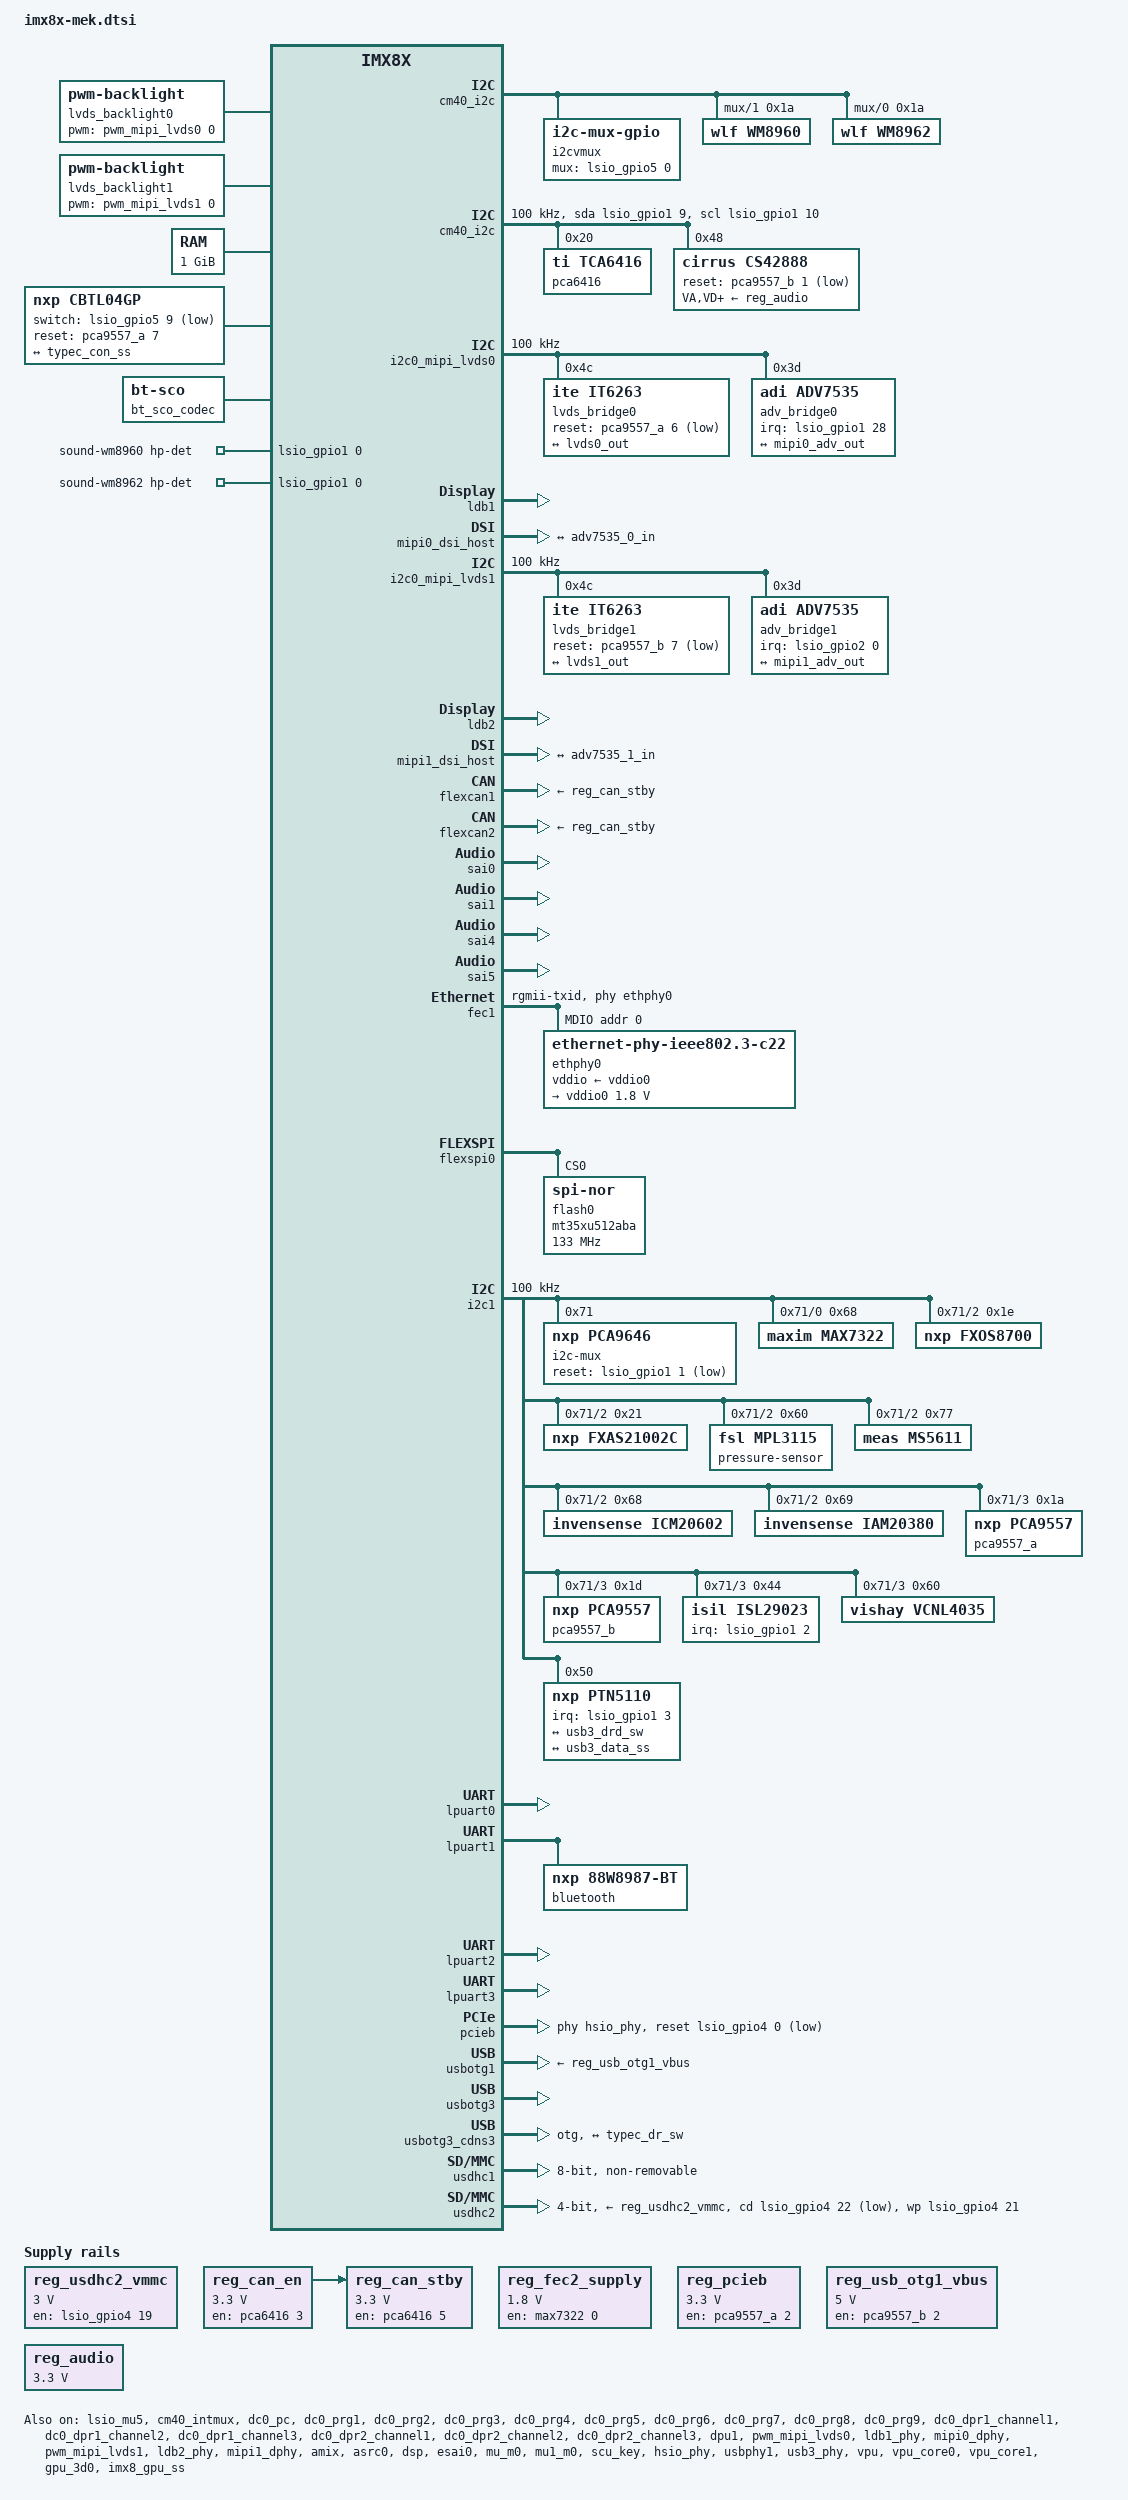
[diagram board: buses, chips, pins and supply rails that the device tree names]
// SPDX-License-Identifier: GPL-2.0+
/*
 * Copyright 2017-2020 NXP
 */

#include <dt-bindings/usb/pd.h>
/ {
	chosen {
		stdout-path = &lpuart0;
	};

	brcmfmac: brcmfmac {
		compatible = "cypress,brcmfmac";
		pinctrl-names = "init", "idle", "default";
		pinctrl-0 = <&pinctrl_wifi_init>;
		pinctrl-1 = <&pinctrl_wifi_init>;
		pinctrl-2 = <&pinctrl_wifi>;
	};

	lvds_backlight0: lvds-backlight-0 {
		compatible = "pwm-backlight";
		pwms = <&pwm_mipi_lvds0 0 100000 0>;

		brightness-levels = < 0  1  2  3  4  5  6  7  8  9
				     10 11 12 13 14 15 16 17 18 19
				     20 21 22 23 24 25 26 27 28 29
				     30 31 32 33 34 35 36 37 38 39
				     40 41 42 43 44 45 46 47 48 49
				     50 51 52 53 54 55 56 57 58 59
				     60 61 62 63 64 65 66 67 68 69
				     70 71 72 73 74 75 76 77 78 79
				     80 81 82 83 84 85 86 87 88 89
				     90 91 92 93 94 95 96 97 98 99
				    100>;
		default-brightness-level = <80>;
	};

	lvds_backlight1: lvds-backlight-1 {
		compatible = "pwm-backlight";
		pwms = <&pwm_mipi_lvds1 0 100000 0>;

		brightness-levels = < 0  1  2  3  4  5  6  7  8  9
				     10 11 12 13 14 15 16 17 18 19
				     20 21 22 23 24 25 26 27 28 29
				     30 31 32 33 34 35 36 37 38 39
				     40 41 42 43 44 45 46 47 48 49
				     50 51 52 53 54 55 56 57 58 59
				     60 61 62 63 64 65 66 67 68 69
				     70 71 72 73 74 75 76 77 78 79
				     80 81 82 83 84 85 86 87 88 89
				     90 91 92 93 94 95 96 97 98 99
				    100>;
		default-brightness-level = <80>;
	};

	memory@80000000 {
		device_type = "memory";
		reg = <0x00000000 0x80000000 0 0x40000000>;
	};

	cbtl04gp {
		compatible = "nxp,cbtl04gp";
		pinctrl-names = "default";
		pinctrl-0 = <&pinctrl_typec_mux>;
		switch-gpios = <&lsio_gpio5 9 GPIO_ACTIVE_LOW>;
		reset-gpios = <&pca9557_a 7 GPIO_ACTIVE_HIGH>;
		orientation-switch;

		port {
			usb3_data_ss: endpoint {
				remote-endpoint = <&typec_con_ss>;
			};
		};
	};

	reserved-memory {
		#address-cells = <2>;
		#size-cells = <2>;
		ranges;

		decoder_boot: decoder-boot@84000000 {
			reg = <0 0x84000000 0 0x2000000>;
			no-map;
		};

		encoder_boot: encoder-boot@86000000 {
			reg = <0 0x86000000 0 0x200000>;
			no-map;
		};

		decoder_rpc: decoder-rpc@92000000 {
			reg = <0 0x92000000 0 0x100000>;
			no-map;
		};

		dsp_reserved: dsp@92400000 {
			reg = <0 0x92400000 0 0x1000000>;
			no-map;
		};
		dsp_reserved_heap: dsp_reserved_heap@93400000 {
			reg = <0 0x93400000 0 0xef0000>;
			no-map;
		};
		dsp_vdev0vring0: vdev0vring0@942f0000 {
			reg = <0 0x942f0000 0 0x8000>;
			no-map;
		};

		dsp_vdev0vring1: vdev0vring1@942f8000 {
			reg = <0 0x942f8000 0 0x8000>;
			no-map;
		};

		dsp_vdev0buffer: vdev0buffer@94300000 {
			compatible = "shared-dma-pool";
			reg = <0 0x94300000 0 0x100000>;
			no-map;
		};

		encoder_rpc: encoder-rpc@94400000 {
			reg = <0 0x94400000 0 0x700000>;
			no-map;
		};
		/* global autoconfigured region for contiguous allocations */
		linux,cma {
			compatible = "shared-dma-pool";
			reusable;
			size = <0 0x3c000000>;
			alloc-ranges = <0 0xc0000000 0 0x3c000000>;
			linux,cma-default;
		};
	};

	reg_usdhc2_vmmc: usdhc2-vmmc {
		compatible = "regulator-fixed";
		regulator-name = "SD1_SPWR";
		regulator-min-microvolt = <3000000>;
		regulator-max-microvolt = <3000000>;
		gpio = <&lsio_gpio4 19 GPIO_ACTIVE_HIGH>;
		off-on-delay-us = <3480>;
		enable-active-high;
	};

	reg_can_en: regulator-can-en {
		compatible = "regulator-fixed";
		regulator-name = "can-en";
		regulator-min-microvolt = <3300000>;
		regulator-max-microvolt = <3300000>;
		gpio = <&pca6416 3 GPIO_ACTIVE_HIGH>;
		enable-active-high;
	};

	reg_can_stby: regulator-can-stby {
		compatible = "regulator-fixed";
		regulator-name = "can-stby";
		regulator-min-microvolt = <3300000>;
		regulator-max-microvolt = <3300000>;
		gpio = <&pca6416 5 GPIO_ACTIVE_HIGH>;
		enable-active-high;
		vin-supply = <&reg_can_en>;
	};

	reg_fec2_supply: fec2_nvcc {
		compatible = "regulator-fixed";
		regulator-name = "fec2_nvcc";
		regulator-min-microvolt = <1800000>;
		regulator-max-microvolt = <1800000>;
		gpio = <&max7322 0 GPIO_ACTIVE_HIGH>;
		enable-active-high;
	};

	reg_pcieb: regulator-pcie {
		compatible = "regulator-fixed";
		regulator-name = "mpcie_3v3";
		regulator-min-microvolt = <3300000>;
		regulator-max-microvolt = <3300000>;
		gpio = <&pca9557_a 2 GPIO_ACTIVE_HIGH>;
		enable-active-high;
		regulator-always-on;
	};

	reg_usb_otg1_vbus: regulator-usbotg1-vbus {
		compatible = "regulator-fixed";
		regulator-name = "usb_otg1_vbus";
		regulator-min-microvolt = <5000000>;
		regulator-max-microvolt = <5000000>;
		gpio = <&pca9557_b 2 GPIO_ACTIVE_HIGH>;
		enable-active-high;
	};

	reg_audio: regulator-reg-audio {
		compatible = "regulator-fixed";
		regulator-name = "cs42888_supply";
		regulator-min-microvolt = <3300000>;
		regulator-max-microvolt = <3300000>;
		regulator-always-on;
	};

	bt_sco_codec: bt_sco_codec {
		#sound-dai-cells = <1>;
		compatible = "linux,bt-sco";
	};

	sound-bt-sco {
		compatible = "simple-audio-card";
		simple-audio-card,name = "bt-sco-audio";
		simple-audio-card,format = "dsp_a";
		simple-audio-card,bitclock-inversion;
		simple-audio-card,frame-master = <&btcpu>;
		simple-audio-card,bitclock-master = <&btcpu>;

		btcpu: simple-audio-card,cpu {
			sound-dai = <&sai0>;
			dai-tdm-slot-num = <2>;
			dai-tdm-slot-width = <16>;
		};

		simple-audio-card,codec {
			sound-dai = <&bt_sco_codec 1>;
		};
	};

	sound-cs42888 {
		compatible = "fsl,imx8qm-sabreauto-cs42888",
				"fsl,imx-audio-cs42888";
		model = "imx-cs42888";
		audio-cpu = <&esai0>;
		audio-codec = <&cs42888>;
		audio-asrc = <&asrc0>;
		audio-routing =
			"Line Out Jack", "AOUT1L",
			"Line Out Jack", "AOUT1R",
			"Line Out Jack", "AOUT2L",
			"Line Out Jack", "AOUT2R",
			"Line Out Jack", "AOUT3L",
			"Line Out Jack", "AOUT3R",
			"Line Out Jack", "AOUT4L",
			"Line Out Jack", "AOUT4R",
			"AIN1L", "Line In Jack",
			"AIN1R", "Line In Jack",
			"AIN2L", "Line In Jack",
			"AIN2R", "Line In Jack";
		status = "okay";
	};

	sound-wm8960 {
		compatible = "fsl,imx8x-mek-wm8960",
			"fsl,imx-audio-wm8960";
		model = "wm8960-audio";
		audio-cpu = <&sai1>;
		audio-codec = <&wm8960>;
		hp-det-gpio = <&lsio_gpio1 0 GPIO_ACTIVE_HIGH>;
		audio-routing =
			"Headphone Jack", "HP_L",
			"Headphone Jack", "HP_R",
			"Ext Spk", "SPK_LP",
			"Ext Spk", "SPK_LN",
			"Ext Spk", "SPK_RP",
			"Ext Spk", "SPK_RN",
			"LINPUT1", "Mic Jack",
			"Mic Jack", "MICB";
	};

	sound-wm8962 {
		compatible = "fsl,imx-audio-wm8962";
		model = "wm8962-audio";
		audio-cpu = <&sai1>;
		audio-codec = <&wm8962>;
		hp-det-gpio = <&lsio_gpio1 0 GPIO_ACTIVE_HIGH>;
		audio-routing =
			"Headphone Jack", "HPOUTL",
			"Headphone Jack", "HPOUTR",
			"Ext Spk", "SPKOUTL",
			"Ext Spk", "SPKOUTR",
			"AMIC", "MICBIAS",
			"IN3R", "AMIC",
			"IN1R", "AMIC";
	};

	imx8x_cm4: imx8x-cm4-0 {
		compatible = "fsl,imx8qxp-cm4";
		rsc-da = <0x90000000>;
		mbox-names = "tx", "rx", "rxdb";
		mboxes = <&lsio_mu5 0 1
			  &lsio_mu5 1 1
			  &lsio_mu5 3 1>;
		memory-region = <&vdevbuffer>, <&vdev0vring0>, <&vdev0vring1>,
				<&vdev1vring0>, <&vdev1vring1>, <&rsc_table>;
		fsl,resource-id = <IMX_SC_R_M4_0_PID0>;
		fsl,entry-address = <0x34fe0000>;
		status = "okay";
		power-domains = <&pd IMX_SC_R_M4_0_PID0>,
				<&pd IMX_SC_R_M4_0_MU_1A>;
	};

	reserved-memory {
		#address-cells = <2>;
		#size-cells = <2>;
		ranges;

		vdev0vring0: vdev0vring0@90000000 {
			reg = <0 0x90000000 0 0x8000>;
			no-map;
		};

		vdev0vring1: vdev0vring1@90008000 {
			reg = <0 0x90008000 0 0x8000>;
			no-map;
		};

		vdev1vring0: vdev1vring0@90010000 {
			reg = <0 0x90010000 0 0x8000>;
			no-map;
		};

		vdev1vring1: vdev1vring1@90018000 {
			reg = <0 0x90018000 0 0x8000>;
			no-map;
		};

		rsc_table: rsc-table@900ff000 {
			reg = <0 0x900ff000 0 0x1000>;
			no-map;
		};

		vdevbuffer: vdevbuffer@90400000 {
                        compatible = "shared-dma-pool";
			reg = <0 0x90400000 0 0x100000>;
			no-map;
		};
	};

	/*
	 * this dummy i2c mux.
	 * gpio actually will not impact selection.
	 * at actual boards, only 1 devices connectted.
	 * I2C client driver will check ID when probe.
	 * Only matched ID's driver probe successfully.
	 */
	i2cvmux: i2cmux {
		compatible = "i2c-mux-gpio";
		#address-cells = <1>;
		#size-cells = <0>;
		mux-gpios = <&lsio_gpio5 0 GPIO_ACTIVE_HIGH>; /* use an unused gpio */
		i2c-parent = <&cm40_i2c>;

		i2c@1 {
			reg = <1>;
			#address-cells = <1>;
			#size-cells = <0>;

			wm8960: wm8960@1a {
				compatible = "wlf,wm8960";
				reg = <0x1a>;
				clocks = <&mclkout0_lpcg 0>;
				clock-names = "mclk";
				wlf,shared-lrclk;
				wlf,hp-cfg = <2 2 3>;
				wlf,gpio-cfg = <1 3>;
				assigned-clocks = <&clk IMX_SC_R_AUDIO_PLL_0 IMX_SC_PM_CLK_PLL>,
					<&clk IMX_SC_R_AUDIO_PLL_0 IMX_SC_PM_CLK_SLV_BUS>,
					<&clk IMX_SC_R_AUDIO_PLL_0 IMX_SC_PM_CLK_MST_BUS>,
					<&mclkout0_lpcg 0>;
				assigned-clock-rates =
					<786432000>, <49152000>, <12288000>, <12288000>;
			};
		};

		i2c@0 {
			reg = <0>;
			#address-cells = <1>;
			#size-cells = <0>;

			/* WCPU boards SCH-54536 */
			wm8962: wm8962@1a {
				compatible = "wlf,wm8962";
				reg = <0x1a>;
				clocks = <&mclkout0_lpcg 0>;
				clock-names = "mclk";
				wlf,shared-lrclk;
				wlf,hp-cfg = <2 2 3>;
				wlf,gpio-cfg = <1 3>;
				assigned-clocks = <&clk IMX_SC_R_AUDIO_PLL_0 IMX_SC_PM_CLK_PLL>,
						<&clk IMX_SC_R_AUDIO_PLL_0 IMX_SC_PM_CLK_SLV_BUS>,
						<&clk IMX_SC_R_AUDIO_PLL_0 IMX_SC_PM_CLK_MST_BUS>,
						<&mclkout0_lpcg 0>;
				assigned-clock-rates =
					<786432000>, <49152000>, <12288000>, <12288000>;
			};
		};
	};
};

&lsio_mu5 {
	status = "okay";
};

&cm40_i2c {
	#address-cells = <1>;
	#size-cells = <0>;
	clock-frequency = <100000>;
	pinctrl-names = "default", "gpio";
	pinctrl-0 = <&pinctrl_cm40_i2c>;
	pinctrl-1 = <&pinctrl_cm40_i2c_gpio>;
	scl-gpios = <&lsio_gpio1 10 GPIO_ACTIVE_HIGH>;
	sda-gpios = <&lsio_gpio1 9 GPIO_ACTIVE_HIGH>;
	status = "okay";

	pca6416: gpio@20 {
		compatible = "ti,tca6416";
		reg = <0x20>;
		gpio-controller;
		#gpio-cells = <2>;
	};

	cs42888: cs42888@48 {
		compatible = "cirrus,cs42888";
		reg = <0x48>;
		clocks = <&mclkout0_lpcg 0>;
		clock-names = "mclk";
		VA-supply = <&reg_audio>;
		VD-supply = <&reg_audio>;
		VLS-supply = <&reg_audio>;
		VLC-supply = <&reg_audio>;
		reset-gpio = <&pca9557_b 1 GPIO_ACTIVE_LOW>;
		assigned-clocks = <&clk IMX_SC_R_AUDIO_PLL_0 IMX_SC_PM_CLK_PLL>,
				<&clk IMX_SC_R_AUDIO_PLL_0 IMX_SC_PM_CLK_SLV_BUS>,
				<&clk IMX_SC_R_AUDIO_PLL_0 IMX_SC_PM_CLK_MST_BUS>,
				<&mclkout0_lpcg 0>;
		assigned-clock-rates = <786432000>, <49152000>, <12288000>, <12288000>;
		fsl,txs-rxm;
	};

	ov5640_pi: ov5640@3c {
		compatible = "ovti,ov5640";
		reg = <0x3c>;
		pinctrl-names = "default";
		pinctrl-0 = <&pinctrl_parallel_csi>;
		clocks = <&pi0_misc_lpcg 0>;
		assigned-clocks = <&pi0_misc_lpcg 0>;
		assigned-clock-rates = <24000000>;
		clock-names = "xclk";
		powerdown-gpios = <&lsio_gpio3 2 GPIO_ACTIVE_HIGH>;
		reset-gpios = <&lsio_gpio3 3 GPIO_ACTIVE_LOW>;
		mclk = <24000000>;
		mclk_source = <0>;
		status = "disabled";
	};
};

&cm40_intmux {
	status = "okay";
};

&dc0_pc {
	status = "okay";
};

&dc0_prg1 {
	status = "okay";
};

&dc0_prg2 {
	status = "okay";

};

&dc0_prg3 {
	status = "okay";
};

&dc0_prg4 {
	status = "okay";
};

&dc0_prg5 {
	status = "okay";
};

&dc0_prg6 {
	status = "okay";
};

&dc0_prg7 {
	status = "okay";
};

&dc0_prg8 {
	status = "okay";
};

&dc0_prg9 {
	status = "okay";
};

&dc0_dpr1_channel1 {
	status = "okay";
};

&dc0_dpr1_channel2 {
	status = "okay";
};

&dc0_dpr1_channel3 {
	status = "okay";
};

&dc0_dpr2_channel1 {
	status = "okay";
};

&dc0_dpr2_channel2 {
	status = "okay";
};

&dc0_dpr2_channel3 {
	status = "okay";
};

&dpu1 {
	status = "okay";
};

&pwm_mipi_lvds0 {
	pinctrl-names = "default";
	pinctrl-0 = <&pinctrl_pwm_mipi_lvds0>;
	status = "okay";
};

&i2c0_mipi_lvds0 {
	#address-cells = <1>;
	#size-cells = <0>;
	pinctrl-names = "default";
	pinctrl-0 = <&pinctrl_i2c0_mipi_lvds0>;
	clock-frequency = <100000>;
	status = "okay";

	lvds_bridge0: lvds-to-hdmi-bridge@4c {
		compatible = "ite,it6263";
		reg = <0x4c>;
		reset-gpios = <&pca9557_a 6 GPIO_ACTIVE_LOW>;

		port {
			it6263_0_in: endpoint {
				remote-endpoint = <&lvds0_out>;
			};
		};
	};

	adv_bridge0: adv7535@3d {
		compatible = "adi,adv7535";
		reg = <0x3d>;
		adi,addr-cec = <0x3b>;
		adi,dsi-lanes = <4>;
		adi,dsi-channel = <1>;
		interrupt-parent = <&lsio_gpio1>;
		interrupts = <28 IRQ_TYPE_LEVEL_LOW>;
		status = "okay";

		port {
			adv7535_0_in: endpoint {
				remote-endpoint = <&mipi0_adv_out>;
			};
		};
	};
};

&ldb1_phy {
	status = "okay";
};

&ldb1 {
	status = "okay";

	lvds-channel@0 {
		fsl,data-mapping = "jeida";
		fsl,data-width = <24>;
		status = "okay";

		port@1 {
			reg = <1>;

			lvds0_out: endpoint {
				remote-endpoint = <&it6263_0_in>;
			};
		};
	};
};

&mipi0_dphy {
	status = "okay";
};

&mipi0_dsi_host {
	status = "okay";

	ports {
		port@1 {
			reg = <1>;
			mipi0_adv_out: endpoint {
				remote-endpoint = <&adv7535_0_in>;
			};
		};
	};
};

&pwm_mipi_lvds1 {
	pinctrl-names = "default";
	pinctrl-0 = <&pinctrl_pwm_mipi_lvds1>;
	status = "okay";
};

&i2c0_mipi_lvds1 {
	#address-cells = <1>;
	#size-cells = <0>;
	pinctrl-names = "default";
	pinctrl-0 = <&pinctrl_i2c0_mipi_lvds1>;
	clock-frequency = <100000>;
	status = "okay";

	lvds_bridge1: lvds-to-hdmi-bridge@4c {
		compatible = "ite,it6263";
		reg = <0x4c>;
		reset-gpios = <&pca9557_b 7 GPIO_ACTIVE_LOW>;

		port {
			it6263_1_in: endpoint {
				remote-endpoint = <&lvds1_out>;
			};
		};
	};

	adv_bridge1: adv7535@3d {
		compatible = "adi,adv7535";
		reg = <0x3d>;
		adi,addr-cec = <0x3b>;
		adi,dsi-lanes = <4>;
		adi,dsi-channel = <1>;
		interrupt-parent = <&lsio_gpio2>;
		interrupts = <0 IRQ_TYPE_LEVEL_LOW>;
		status = "okay";

		port {
			adv7535_1_in: endpoint {
				remote-endpoint = <&mipi1_adv_out>;
			};
		};
	};
};

&ldb2_phy {
	status = "okay";
};

&ldb2 {
	status = "okay";

	lvds-channel@0 {
		fsl,data-mapping = "jeida";
		fsl,data-width = <24>;
		status = "okay";

		port@1 {
			reg = <1>;

			lvds1_out: endpoint {
				remote-endpoint = <&it6263_1_in>;
			};
		};
	};
};

&mipi1_dphy {
	status = "okay";
};

&mipi1_dsi_host {
	status = "okay";

	ports {
		port@1 {
			reg = <1>;
			mipi1_adv_out: endpoint {
				remote-endpoint = <&adv7535_1_in>;
			};
		};
	};
};

&flexcan1 {
	pinctrl-names = "default";
	pinctrl-0 = <&pinctrl_flexcan1>;
	xceiver-supply = <&reg_can_stby>;
	status = "okay";
};

&flexcan2 {
	pinctrl-names = "default";
	pinctrl-0 = <&pinctrl_flexcan2>;
	xceiver-supply = <&reg_can_stby>;
	status = "okay";
};

&amix {
	status = "okay";
};

&asrc0 {
	fsl,asrc-rate  = <48000>;
	status = "okay";
};

&dsp {
	memory-region = <&dsp_vdev0buffer>, <&dsp_vdev0vring0>,
			<&dsp_vdev0vring1>, <&dsp_reserved>;
	status = "okay";
};

&esai0 {
	pinctrl-names = "default";
	pinctrl-0 = <&pinctrl_esai0>;
	assigned-clocks = <&acm IMX_ADMA_ACM_ESAI0_MCLK_SEL>,
			<&clk IMX_SC_R_AUDIO_PLL_0 IMX_SC_PM_CLK_PLL>,
			<&clk IMX_SC_R_AUDIO_PLL_0 IMX_SC_PM_CLK_SLV_BUS>,
			<&clk IMX_SC_R_AUDIO_PLL_0 IMX_SC_PM_CLK_MST_BUS>,
			<&esai0_lpcg 0>;
	assigned-clock-parents = <&aud_pll_div0_lpcg 0>;
	assigned-clock-rates = <0>, <786432000>, <49152000>, <12288000>, <49152000>;
	fsl,txm-rxs;
	status = "okay";
};

&sai0 {
	#sound-dai-cells = <0>;
	assigned-clocks = <&clk IMX_SC_R_AUDIO_PLL_0 IMX_SC_PM_CLK_PLL>,
			<&clk IMX_SC_R_AUDIO_PLL_0 IMX_SC_PM_CLK_SLV_BUS>,
			<&clk IMX_SC_R_AUDIO_PLL_0 IMX_SC_PM_CLK_MST_BUS>,
			<&sai0_lpcg 0>;
	assigned-clock-rates = <786432000>, <49152000>, <12288000>, <49152000>;
	pinctrl-names = "default";
	pinctrl-0 = <&pinctrl_sai0>;
	status = "okay";
};

&sai1 {
	assigned-clocks = <&clk IMX_SC_R_AUDIO_PLL_0 IMX_SC_PM_CLK_PLL>,
			<&clk IMX_SC_R_AUDIO_PLL_0 IMX_SC_PM_CLK_SLV_BUS>,
			<&clk IMX_SC_R_AUDIO_PLL_0 IMX_SC_PM_CLK_MST_BUS>,
			<&sai1_lpcg 0>; /* FIXME: should be sai1, original code is 0 */
	assigned-clock-rates = <786432000>, <49152000>, <12288000>, <49152000>;
	pinctrl-names = "default";
	pinctrl-0 = <&pinctrl_sai1>;
	status = "okay";
};

&sai4 {
	assigned-clocks = <&acm IMX_ADMA_ACM_SAI4_MCLK_SEL>,
			<&clk IMX_SC_R_AUDIO_PLL_1 IMX_SC_PM_CLK_PLL>,
			<&clk IMX_SC_R_AUDIO_PLL_1 IMX_SC_PM_CLK_SLV_BUS>,
			<&clk IMX_SC_R_AUDIO_PLL_1 IMX_SC_PM_CLK_MST_BUS>,
			<&sai4_lpcg 0>;
	assigned-clock-parents = <&aud_pll_div1_lpcg 0>;
	assigned-clock-rates = <0>, <786432000>, <98304000>, <12288000>, <98304000>;
	fsl,sai-asynchronous;
	fsl,txm-rxs;
	status = "okay";
};

&sai5 {
	assigned-clocks = <&acm IMX_ADMA_ACM_SAI5_MCLK_SEL>,
			<&clk IMX_SC_R_AUDIO_PLL_1 IMX_SC_PM_CLK_PLL>,
			<&clk IMX_SC_R_AUDIO_PLL_1 IMX_SC_PM_CLK_SLV_BUS>,
			<&clk IMX_SC_R_AUDIO_PLL_1 IMX_SC_PM_CLK_MST_BUS>,
			<&sai5_lpcg 0>;
	assigned-clock-parents = <&aud_pll_div1_lpcg 0>;
	assigned-clock-rates = <0>, <786432000>, <98304000>, <12288000>, <98304000>;
	fsl,sai-asynchronous;
	fsl,txm-rxs;
	status = "okay";
};

&fec1 {
	pinctrl-names = "default";
	pinctrl-0 = <&pinctrl_fec1>;
	phy-mode = "rgmii-txid";
	phy-handle = <&ethphy0>;
	fsl,magic-packet;
	nvmem-cells = <&fec_mac0>;
	nvmem-cell-names = "mac-address";
	rx-internal-delay-ps = <2000>;
	status = "okay";

	mdio {
		#address-cells = <1>;
		#size-cells = <0>;

		ethphy0: ethernet-phy@0 {
			compatible = "ethernet-phy-ieee802.3-c22";
			reg = <0>;
			qca,disable-smarteee;
			vddio-supply = <&vddio0>;

			vddio0: vddio-regulator {
				regulator-min-microvolt = <1800000>;
				regulator-max-microvolt = <1800000>;
			};
		};

		ethphy1: ethernet-phy@1 {
			compatible = "ethernet-phy-ieee802.3-c22";
			reg = <1>;
			qca,disable-smarteee;
			vddio-supply = <&vddio1>;
			status = "disabled";

			vddio1: vddio-regulator {
				regulator-min-microvolt = <1800000>;
				regulator-max-microvolt = <1800000>;
			};
		};
	};
};

&fec2 {
	pinctrl-names = "default";
	pinctrl-0 = <&pinctrl_fec2>;
	phy-mode = "rgmii-txid";
	phy-handle = <&ethphy1>;
	phy-supply = <&reg_fec2_supply>;
	fsl,magic-packet;
	nvmem-cells = <&fec_mac1>;
	nvmem-cell-names = "mac-address";
	rx-internal-delay-ps = <2000>;
	status = "disabled";
};

&flexspi0 {
	pinctrl-names = "default";
	pinctrl-0 = <&pinctrl_flexspi0>;
	nxp,fspi-dll-slvdly = <4>;
	status = "okay";

	flash0: mt35xu512aba@0 {
		reg = <0>;
		#address-cells = <1>;
		#size-cells = <1>;
		compatible = "jedec,spi-nor";
		spi-max-frequency = <133000000>;
		spi-tx-bus-width = <8>;
		spi-rx-bus-width = <8>;
	};
};

&i2c1 {
	#address-cells = <1>;
	#size-cells = <0>;
	clock-frequency = <100000>;
	pinctrl-names = "default";
	pinctrl-0 = <&pinctrl_lpi2c1 &pinctrl_ioexp_rst>;
	status = "okay";

	i2c-mux@71 {
		compatible = "nxp,pca9646", "nxp,pca9546";
		#address-cells = <1>;
		#size-cells = <0>;
		reg = <0x71>;
		reset-gpios = <&lsio_gpio1 1 GPIO_ACTIVE_LOW>;

		i2c@0 {
			#address-cells = <1>;
			#size-cells = <0>;
			reg = <0>;

			max7322: gpio@68 {
				compatible = "maxim,max7322";
				reg = <0x68>;
				gpio-controller;
				#gpio-cells = <2>;
			};
		};

		i2c@1 {
			#address-cells = <1>;
			#size-cells = <0>;
			reg = <1>;
		};

		i2c@2 {
			#address-cells = <1>;
			#size-cells = <0>;
			reg = <2>;

			fxos8700@1e {
				compatible = "nxp,fxos8700";
				reg = <0x1e>;
				interrupt-open-drain;
			};

			fxas21002c@21 {
				compatible = "nxp,fxas21002c";
				reg = <0x21>;
				interrupt-open-drain;
			};

			pressure-sensor@60 {
				compatible = "fsl,mpl3115";
				reg = <0x60>;
				interrupt-open-drain;
			};

			/* WCPU boards SCH-54536 */
			ms5611@77 {
				compatible = "meas,ms5611";
				reg = <0x77>;
			};

			icm20602@68 {
				compatible = "invensense,icm20602";
				reg = <0x68>;
			};

			iam20380@69 {
				compatible = "invensense,iam20380";
				reg = <0x69>;
			};
		};

		i2c@3 {
			#address-cells = <1>;
			#size-cells = <0>;
			reg = <3>;

			pca9557_a: gpio@1a {
				compatible = "nxp,pca9557";
				reg = <0x1a>;
				gpio-controller;
				#gpio-cells = <2>;
			};

			pca9557_b: gpio@1d {
				compatible = "nxp,pca9557";
				reg = <0x1d>;
				gpio-controller;
				#gpio-cells = <2>;
			};

			isl29023@44 {
				pinctrl-names = "default";
				pinctrl-0 = <&pinctrl_isl29023>;
				compatible = "isil,isl29023";
				reg = <0x44>;
				rext = <499>;
				interrupt-parent = <&lsio_gpio1>;
				interrupts = <2 IRQ_TYPE_EDGE_FALLING>;
			};

			/* WCPU boards SCH-54536 */
			vcnl4035@60 {
				compatible = "vishay,vcnl4035";
				reg = <0x60>;
			};
		};

	};

	ptn5110: tcpc@50 {
		compatible = "nxp,ptn5110";
		pinctrl-names = "default";
		pinctrl-0 = <&pinctrl_typec>;
		reg = <0x50>;
		interrupt-parent = <&lsio_gpio1>;
		interrupts = <3 IRQ_TYPE_LEVEL_LOW>;
		status = "okay";

		port {
			typec_dr_sw: endpoint {
				remote-endpoint = <&usb3_drd_sw>;
			};
		};

		usb_con1: connector {
			compatible = "usb-c-connector";
			label = "USB-C";
			power-role = "source";
			data-role = "dual";
			source-pdos = <PDO_FIXED(5000, 3000, PDO_FIXED_USB_COMM)>;

			ports {
				#address-cells = <1>;
				#size-cells = <0>;

				port@1 {
					reg = <1>;
					typec_con_ss: endpoint {
						remote-endpoint = <&usb3_data_ss>;
					};
				};
			};
		};
	};
};

&lpuart0 {
	pinctrl-names = "default";
	pinctrl-0 = <&pinctrl_lpuart0>;
	status = "okay";
};

&lpuart1 {
	pinctrl-names = "default";
	pinctrl-0 = <&pinctrl_lpuart1>;
	status = "okay";

	bluetooth {
		compatible = "nxp,88w8987-bt";
	};
};

&lpuart2 {
	pinctrl-names = "default";
	pinctrl-0 = <&pinctrl_lpuart2>;
	status = "okay";
};

&lpuart3 {
	pinctrl-names = "default";
	pinctrl-0 = <&pinctrl_lpuart3>;
	status = "okay";
};

&mu_m0 {
	status = "okay";
};

&mu1_m0 {
	status = "okay";
};

&scu_key {
	status = "okay";
};

&thermal_zones {
	pmic-thermal0 {
		polling-delay-passive = <250>;
		polling-delay = <2000>;
		thermal-sensors = <&tsens IMX_SC_R_PMIC_0>;

		trips {
			pmic_alert0: trip0 {
				temperature = <110000>;
				hysteresis = <2000>;
				type = "passive";
			};

			pmic_crit0: trip1 {
				temperature = <125000>;
				hysteresis = <2000>;
				type = "critical";
			};
		};

		cooling-maps {
			map0 {
				trip = <&pmic_alert0>;
				cooling-device =
					<&A35_0 THERMAL_NO_LIMIT THERMAL_NO_LIMIT>,
					<&A35_1 THERMAL_NO_LIMIT THERMAL_NO_LIMIT>,
					<&A35_2 THERMAL_NO_LIMIT THERMAL_NO_LIMIT>,
					<&A35_3 THERMAL_NO_LIMIT THERMAL_NO_LIMIT>,
					<&imx8_gpu_ss 0 1>;
			};
		};
	};
};

&hsio_phy {
	fsl,hsio-cfg = "pciea-x2-pcieb";
	fsl,refclk-pad-mode = "input";
	status = "okay";
};

&pcieb {
	pinctrl-names = "default";
	pinctrl-0 = <&pinctrl_pcieb>;
	reset-gpio = <&lsio_gpio4 0 GPIO_ACTIVE_LOW>;
	vpcie-supply = <&reg_pcieb>;
	phys = <&hsio_phy 0 PHY_TYPE_PCIE 0>;
	phy-names = "pcie-phy";
	status = "okay";
};

&usbphy1 {
	status = "okay";
};

&usbotg1 {
	vbus-supply = <&reg_usb_otg1_vbus>;
	srp-disable;
	hnp-disable;
	adp-disable;
	power-active-high;
	disable-over-current;
	status = "okay";
};

&usb3_phy {
	status = "okay";
};

&usbotg3 {
	status = "okay";
};

&usbotg3_cdns3 {
	dr_mode = "otg";
	usb-role-switch;
	status = "okay";

	port {
		usb3_drd_sw: endpoint {
			remote-endpoint = <&typec_dr_sw>;
		};
	};
};

&usdhc1 {
	assigned-clocks = <&clk IMX_SC_R_SDHC_0 IMX_SC_PM_CLK_PER>;
	assigned-clock-rates = <400000000>;
	pinctrl-names = "default", "state_100mhz", "state_200mhz";
	pinctrl-0 = <&pinctrl_usdhc1>;
	pinctrl-1 = <&pinctrl_usdhc1>;
	pinctrl-2 = <&pinctrl_usdhc1>;
	bus-width = <8>;
	no-sd;
	no-sdio;
	non-removable;
	status = "okay";
};

&usdhc2 {
	assigned-clocks = <&clk IMX_SC_R_SDHC_1 IMX_SC_PM_CLK_PER>;
	assigned-clock-rates = <200000000>;
	pinctrl-names = "default", "state_100mhz", "state_200mhz";
	pinctrl-0 = <&pinctrl_usdhc2>, <&pinctrl_usdhc2_gpio>;
	pinctrl-1 = <&pinctrl_usdhc2>, <&pinctrl_usdhc2_gpio>;
	pinctrl-2 = <&pinctrl_usdhc2>, <&pinctrl_usdhc2_gpio>;
	bus-width = <4>;
	vmmc-supply = <&reg_usdhc2_vmmc>;
	cd-gpios = <&lsio_gpio4 22 GPIO_ACTIVE_LOW>;
	wp-gpios = <&lsio_gpio4 21 GPIO_ACTIVE_HIGH>;
	status = "okay";
};

&vpu {
	compatible = "nxp,imx8qxp-vpu";
	status = "okay";
};

&vpu_core0 {
	reg = <0x2d040000 0x10000>;
	memory-region = <&decoder_boot>, <&decoder_rpc>;
	status = "okay";
};

&vpu_core1 {
	reg = <0x2d050000 0x10000>;
	memory-region = <&encoder_boot>, <&encoder_rpc>;
	status = "okay";
};

&gpu_3d0 {
	status = "okay";
};

&imx8_gpu_ss {
	status = "okay";
};

&jpegdec {
	status = "okay";
};

&jpegenc {
	status = "okay";
};

&iomuxc {
	pinctrl-names = "default";
	pinctrl-0 = <&pinctrl_hog>;

	pinctrl_hog: hoggrp {
		fsl,pins = <
			IMX8QXP_MCLK_OUT0_ADMA_ACM_MCLK_OUT0       0x0600004c
			IMX8QXP_COMP_CTL_GPIO_1V8_3V3_GPIORHB_PAD  0x000514a0
		>;
	};

	pinctrl_cm40_i2c: cm40i2cgrp {
		fsl,pins = <
			IMX8QXP_ADC_IN1_M40_I2C0_SDA                            0x0600004c
			IMX8QXP_ADC_IN0_M40_I2C0_SCL                            0x0600004c
		>;
	};

	pinctrl_cm40_i2c_gpio: cm40i2cgrp-gpio {
		fsl,pins = <
			IMX8QXP_ADC_IN1_LSIO_GPIO1_IO09		0xc600004c
			IMX8QXP_ADC_IN0_LSIO_GPIO1_IO10		0xc600004c
		>;
	};

	pinctrl_i2c0_mipi_lvds0: mipi_lvds0_i2c0_grp {
		fsl,pins = <
			IMX8QXP_MIPI_DSI0_I2C0_SCL_MIPI_DSI0_I2C0_SCL		0xc6000020
			IMX8QXP_MIPI_DSI0_I2C0_SDA_MIPI_DSI0_I2C0_SDA		0xc6000020
			IMX8QXP_MIPI_DSI0_GPIO0_01_LSIO_GPIO1_IO28		0x00000020
		>;
	};

	pinctrl_i2c0_mipi_lvds1: mipi_lvds1_i2c0_grp {
		fsl,pins = <
			IMX8QXP_MIPI_DSI1_I2C0_SCL_MIPI_DSI1_I2C0_SCL		0xc6000020
			IMX8QXP_MIPI_DSI1_I2C0_SDA_MIPI_DSI1_I2C0_SDA		0xc6000020
			IMX8QXP_MIPI_DSI1_GPIO0_01_LSIO_GPIO2_IO00		0x00000020
		>;
	};

	pinctrl_esai0: esai0grp {
		fsl,pins = <
			IMX8QXP_ESAI0_FSR_ADMA_ESAI0_FSR           0xc6000040
			IMX8QXP_ESAI0_FST_ADMA_ESAI0_FST           0xc6000040
			IMX8QXP_ESAI0_SCKR_ADMA_ESAI0_SCKR         0xc6000040
			IMX8QXP_ESAI0_SCKT_ADMA_ESAI0_SCKT         0xc6000040
			IMX8QXP_ESAI0_TX0_ADMA_ESAI0_TX0           0xc6000040
			IMX8QXP_ESAI0_TX1_ADMA_ESAI0_TX1           0xc6000040
			IMX8QXP_ESAI0_TX2_RX3_ADMA_ESAI0_TX2_RX3   0xc6000040
			IMX8QXP_ESAI0_TX3_RX2_ADMA_ESAI0_TX3_RX2   0xc6000040
			IMX8QXP_ESAI0_TX4_RX1_ADMA_ESAI0_TX4_RX1   0xc6000040
			IMX8QXP_ESAI0_TX5_RX0_ADMA_ESAI0_TX5_RX0   0xc6000040
		>;
	};

	pinctrl_fec1: fec1grp {
		fsl,pins = <
			IMX8QXP_COMP_CTL_GPIO_1V8_3V3_ENET_ENETB0_PAD		0x000014a0
			IMX8QXP_COMP_CTL_GPIO_1V8_3V3_ENET_ENETB1_PAD		0x000014a0
			IMX8QXP_ENET0_MDC_CONN_ENET0_MDC			0x06000020
			IMX8QXP_ENET0_MDIO_CONN_ENET0_MDIO			0x06000020
			IMX8QXP_ENET0_RGMII_TX_CTL_CONN_ENET0_RGMII_TX_CTL	0x06000020
			IMX8QXP_ENET0_RGMII_TXC_CONN_ENET0_RGMII_TXC		0x06000020
			IMX8QXP_ENET0_RGMII_TXD0_CONN_ENET0_RGMII_TXD0		0x06000020
			IMX8QXP_ENET0_RGMII_TXD1_CONN_ENET0_RGMII_TXD1		0x06000020
			IMX8QXP_ENET0_RGMII_TXD2_CONN_ENET0_RGMII_TXD2		0x06000020
			IMX8QXP_ENET0_RGMII_TXD3_CONN_ENET0_RGMII_TXD3		0x06000020
			IMX8QXP_ENET0_RGMII_RXC_CONN_ENET0_RGMII_RXC		0x06000020
			IMX8QXP_ENET0_RGMII_RX_CTL_CONN_ENET0_RGMII_RX_CTL	0x06000020
			IMX8QXP_ENET0_RGMII_RXD0_CONN_ENET0_RGMII_RXD0		0x06000020
			IMX8QXP_ENET0_RGMII_RXD1_CONN_ENET0_RGMII_RXD1		0x06000020
			IMX8QXP_ENET0_RGMII_RXD2_CONN_ENET0_RGMII_RXD2		0x06000020
			IMX8QXP_ENET0_RGMII_RXD3_CONN_ENET0_RGMII_RXD3		0x06000020
		>;
	};

	pinctrl_fec2: fec2grp {
		fsl,pins = <
			IMX8QXP_ESAI0_SCKR_CONN_ENET1_RGMII_TX_CTL	0x00000060
			IMX8QXP_ESAI0_FSR_CONN_ENET1_RGMII_TXC		0x00000060
			IMX8QXP_ESAI0_TX4_RX1_CONN_ENET1_RGMII_TXD0	0x00000060
			IMX8QXP_ESAI0_TX5_RX0_CONN_ENET1_RGMII_TXD1	0x00000060
			IMX8QXP_ESAI0_FST_CONN_ENET1_RGMII_TXD2		0x00000060
			IMX8QXP_ESAI0_SCKT_CONN_ENET1_RGMII_TXD3	0x00000060
			IMX8QXP_ESAI0_TX0_CONN_ENET1_RGMII_RXC		0x00000060
			IMX8QXP_SPDIF0_TX_CONN_ENET1_RGMII_RX_CTL	0x00000060
			IMX8QXP_SPDIF0_RX_CONN_ENET1_RGMII_RXD0		0x00000060
			IMX8QXP_ESAI0_TX3_RX2_CONN_ENET1_RGMII_RXD1	0x00000060
			IMX8QXP_ESAI0_TX2_RX3_CONN_ENET1_RGMII_RXD2	0x00000060
			IMX8QXP_ESAI0_TX1_CONN_ENET1_RGMII_RXD3		0x00000060
		>;
	};

	pinctrl_flexspi0: flexspi0grp {
		fsl,pins = <
			IMX8QXP_QSPI0A_DATA0_LSIO_QSPI0A_DATA0     0x06000021
			IMX8QXP_QSPI0A_DATA1_LSIO_QSPI0A_DATA1     0x06000021
			IMX8QXP_QSPI0A_DATA2_LSIO_QSPI0A_DATA2     0x06000021
			IMX8QXP_QSPI0A_DATA3_LSIO_QSPI0A_DATA3     0x06000021
			IMX8QXP_QSPI0A_DQS_LSIO_QSPI0A_DQS         0x06000021
			IMX8QXP_QSPI0A_SS0_B_LSIO_QSPI0A_SS0_B     0x06000021
			IMX8QXP_QSPI0A_SS1_B_LSIO_QSPI0A_SS1_B     0x06000021
			IMX8QXP_QSPI0A_SCLK_LSIO_QSPI0A_SCLK       0x06000021
			IMX8QXP_QSPI0B_SCLK_LSIO_QSPI0B_SCLK       0x06000021
			IMX8QXP_QSPI0B_DATA0_LSIO_QSPI0B_DATA0     0x06000021
			IMX8QXP_QSPI0B_DATA1_LSIO_QSPI0B_DATA1     0x06000021
			IMX8QXP_QSPI0B_DATA2_LSIO_QSPI0B_DATA2     0x06000021
			IMX8QXP_QSPI0B_DATA3_LSIO_QSPI0B_DATA3     0x06000021
			IMX8QXP_QSPI0B_DQS_LSIO_QSPI0B_DQS         0x06000021
			IMX8QXP_QSPI0B_SS0_B_LSIO_QSPI0B_SS0_B     0x06000021
			IMX8QXP_QSPI0B_SS1_B_LSIO_QSPI0B_SS1_B     0x06000021
		>;
	};

	pinctrl_ioexp_rst: ioexprstgrp {
		fsl,pins = <
			IMX8QXP_SPI2_SDO_LSIO_GPIO1_IO01			0x06000021
		>;
	};

	pinctrl_isl29023: isl29023grp {
		fsl,pins = <
			IMX8QXP_SPI2_SDI_LSIO_GPIO1_IO02			0x00000021
		>;
	};

	pinctrl_lpi2c1: lpi2c1grp {
		fsl,pins = <
			IMX8QXP_USB_SS3_TC1_ADMA_I2C1_SCL			0x06000021
			IMX8QXP_USB_SS3_TC3_ADMA_I2C1_SDA			0x06000021
		>;
	};

	pinctrl_flexcan1: flexcan0grp {
		fsl,pins = <
			IMX8QXP_FLEXCAN0_TX_ADMA_FLEXCAN0_TX			0x21
			IMX8QXP_FLEXCAN0_RX_ADMA_FLEXCAN0_RX			0x21
		>;
	};

	pinctrl_flexcan2: flexcan1grp {
		fsl,pins = <
			IMX8QXP_FLEXCAN1_TX_ADMA_FLEXCAN1_TX			0x21
			IMX8QXP_FLEXCAN1_RX_ADMA_FLEXCAN1_RX			0x21
		>;
	};

	pinctrl_lpuart0: lpuart0grp {
		fsl,pins = <
			IMX8QXP_UART0_RX_ADMA_UART0_RX				0x06000020
			IMX8QXP_UART0_TX_ADMA_UART0_TX				0x06000020
		>;
	};

	pinctrl_lpuart1: lpuart1grp {
		fsl,pins = <
			IMX8QXP_UART1_TX_ADMA_UART1_TX		0x06000020
			IMX8QXP_UART1_RX_ADMA_UART1_RX		0x06000020
			IMX8QXP_UART1_RTS_B_ADMA_UART1_RTS_B	0x06000020
			IMX8QXP_UART1_CTS_B_ADMA_UART1_CTS_B	0x06000020
		>;
	};

	pinctrl_lpuart2: lpuart2grp {
		fsl,pins = <
			IMX8QXP_UART2_TX_ADMA_UART2_TX		0x06000020
			IMX8QXP_UART2_RX_ADMA_UART2_RX		0x06000020
		>;
	};

	pinctrl_lpuart3: lpuart3grp {
		fsl,pins = <
			IMX8QXP_FLEXCAN2_TX_ADMA_UART3_TX	0x06000020
			IMX8QXP_FLEXCAN2_RX_ADMA_UART3_RX	0x06000020
		>;
	};

	pinctrl_pcieb: pcieagrp {
		fsl,pins = <
			IMX8QXP_PCIE_CTRL0_PERST_B_LSIO_GPIO4_IO00		0x06000021
			IMX8QXP_PCIE_CTRL0_CLKREQ_B_HSIO_PCIE0_CLKREQ_B 	0x06000021
			IMX8QXP_PCIE_CTRL0_WAKE_B_LSIO_GPIO4_IO02		0x04000021
		>;
	};

	pinctrl_pwm_mipi_lvds0: mipi_lvds0_pwm_grp {
		fsl,pins = <
			IMX8QXP_MIPI_DSI0_GPIO0_00_MIPI_DSI0_PWM0_OUT		0x00000020
		>;
	};

	pinctrl_pwm_mipi_lvds1: mipi_lvds1_pwm_grp {
		fsl,pins = <
			IMX8QXP_MIPI_DSI1_GPIO0_00_MIPI_DSI1_PWM0_OUT		0x00000020
		>;
	};

	pinctrl_sai0: sai0grp {
		fsl,pins = <
			IMX8QXP_SAI0_TXD_ADMA_SAI0_TXD		0x06000060
			IMX8QXP_SAI0_RXD_ADMA_SAI0_RXD		0x06000040
			IMX8QXP_SAI0_TXC_ADMA_SAI0_TXC		0x06000040
			IMX8QXP_SAI0_TXFS_ADMA_SAI0_TXFS	0x06000040
		>;
	};

	pinctrl_sai1: sai1grp {
		fsl,pins = <
			IMX8QXP_SAI1_RXD_ADMA_SAI1_RXD     0x06000040
			IMX8QXP_SAI1_RXC_ADMA_SAI1_TXC     0x06000040
			IMX8QXP_SAI1_RXFS_ADMA_SAI1_TXFS   0x06000040
			IMX8QXP_SPI0_CS1_ADMA_SAI1_TXD     0x06000060
			IMX8QXP_SPI2_CS0_LSIO_GPIO1_IO00   0x06000040
		>;
	};

	pinctrl_typec: typecgrp {
		fsl,pins = <
			IMX8QXP_SPI2_SCK_LSIO_GPIO1_IO03			0x06000021
		>;
	};

	pinctrl_typec_mux: typecmuxgrp {
		fsl,pins = <
			IMX8QXP_ENET0_REFCLK_125M_25M_LSIO_GPIO5_IO09		0x60
		>;
	};

	pinctrl_usdhc1: usdhc1grp {
		fsl,pins = <
			IMX8QXP_EMMC0_CLK_CONN_EMMC0_CLK			0x06000041
			IMX8QXP_EMMC0_CMD_CONN_EMMC0_CMD			0x00000021
			IMX8QXP_EMMC0_DATA0_CONN_EMMC0_DATA0			0x00000021
			IMX8QXP_EMMC0_DATA1_CONN_EMMC0_DATA1			0x00000021
			IMX8QXP_EMMC0_DATA2_CONN_EMMC0_DATA2			0x00000021
			IMX8QXP_EMMC0_DATA3_CONN_EMMC0_DATA3			0x00000021
			IMX8QXP_EMMC0_DATA4_CONN_EMMC0_DATA4			0x00000021
			IMX8QXP_EMMC0_DATA5_CONN_EMMC0_DATA5			0x00000021
			IMX8QXP_EMMC0_DATA6_CONN_EMMC0_DATA6			0x00000021
			IMX8QXP_EMMC0_DATA7_CONN_EMMC0_DATA7			0x00000021
			IMX8QXP_EMMC0_STROBE_CONN_EMMC0_STROBE			0x00000041
		>;
	};

	pinctrl_usdhc2_gpio: usdhc2gpiogrp {
		fsl,pins = <
			IMX8QXP_USDHC1_RESET_B_LSIO_GPIO4_IO19     0x00000021
			IMX8QXP_USDHC1_WP_LSIO_GPIO4_IO21          0x00000021
			IMX8QXP_USDHC1_CD_B_LSIO_GPIO4_IO22        0x00000021
		>;
	};

	pinctrl_usdhc2: usdhc2grp {
		fsl,pins = <
			IMX8QXP_USDHC1_CLK_CONN_USDHC1_CLK			0x06000041
			IMX8QXP_USDHC1_CMD_CONN_USDHC1_CMD			0x00000021
			IMX8QXP_USDHC1_DATA0_CONN_USDHC1_DATA0			0x00000021
			IMX8QXP_USDHC1_DATA1_CONN_USDHC1_DATA1			0x00000021
			IMX8QXP_USDHC1_DATA2_CONN_USDHC1_DATA2			0x00000021
			IMX8QXP_USDHC1_DATA3_CONN_USDHC1_DATA3			0x00000021
			IMX8QXP_USDHC1_VSELECT_CONN_USDHC1_VSELECT		0x00000021
		>;
	};

	pinctrl_i2c_mipi_csi0: i2c_mipi_csi0 {
		fsl,pins = <
			IMX8QXP_MIPI_CSI0_I2C0_SCL_MIPI_CSI0_I2C0_SCL		0xc2000020
			IMX8QXP_MIPI_CSI0_I2C0_SDA_MIPI_CSI0_I2C0_SDA		0xc2000020
		>;
	};

	pinctrl_mipi_csi0: mipi_csi0 {
		fsl,pins = <
			IMX8QXP_MIPI_CSI0_GPIO0_01_LSIO_GPIO3_IO07		0xC0000041
			IMX8QXP_MIPI_CSI0_GPIO0_00_LSIO_GPIO3_IO08		0xC0000041
			IMX8QXP_MIPI_CSI0_MCLK_OUT_MIPI_CSI0_ACM_MCLK_OUT	0xC0000041
		>;
	};

	pinctrl_parallel_csi: parallelcsigrp {
		fsl,pins = <
			IMX8QXP_CSI_D00_CI_PI_D02		0xC0000041
			IMX8QXP_CSI_D01_CI_PI_D03		0xC0000041
			IMX8QXP_CSI_D02_CI_PI_D04		0xC0000041
			IMX8QXP_CSI_D03_CI_PI_D05		0xC0000041
			IMX8QXP_CSI_D04_CI_PI_D06		0xC0000041
			IMX8QXP_CSI_D05_CI_PI_D07		0xC0000041
			IMX8QXP_CSI_D06_CI_PI_D08		0xC0000041
			IMX8QXP_CSI_D07_CI_PI_D09		0xC0000041

			IMX8QXP_CSI_MCLK_CI_PI_MCLK		0xC0000041
			IMX8QXP_CSI_PCLK_CI_PI_PCLK		0xC0000041
			IMX8QXP_CSI_HSYNC_CI_PI_HSYNC		0xC0000041
			IMX8QXP_CSI_VSYNC_CI_PI_VSYNC		0xC0000041
			IMX8QXP_CSI_EN_LSIO_GPIO3_IO02		0xC0000041
			IMX8QXP_CSI_RESET_LSIO_GPIO3_IO03	0xC0000041
		>;
	};

	pinctrl_wifi: wifigrp{
		fsl,pins = <
			IMX8QXP_SCU_BOOT_MODE3_SCU_DSC_RTC_CLOCK_OUTPUT_32K	0x20
		>;
	};

	pinctrl_wifi_init: wifi_initgrp{
		fsl,pins = <
			/* reserve pin init/idle_state to support multiple wlan cards */
		>;
	};

	pinctrl_lcdif: lcdifgrp {
		fsl,pins = <
			IMX8QXP_ESAI0_FSR_ADMA_LCDIF_D00	0x00000060
			IMX8QXP_ESAI0_FST_ADMA_LCDIF_D01	0x00000060
			IMX8QXP_ESAI0_SCKR_ADMA_LCDIF_D02	0x00000060
			IMX8QXP_ESAI0_SCKT_ADMA_LCDIF_D03	0x00000060
			IMX8QXP_ESAI0_TX0_ADMA_LCDIF_D04	0x00000060
			IMX8QXP_ESAI0_TX1_ADMA_LCDIF_D05	0x00000060
			IMX8QXP_ESAI0_TX2_RX3_ADMA_LCDIF_D06	0x00000060
			IMX8QXP_ESAI0_TX3_RX2_ADMA_LCDIF_D07	0x00000060
			IMX8QXP_ESAI0_TX4_RX1_ADMA_LCDIF_D08	0x00000060
			IMX8QXP_ESAI0_TX5_RX0_ADMA_LCDIF_D09	0x00000060
			IMX8QXP_SPDIF0_RX_ADMA_LCDIF_D10	0x00000060
			IMX8QXP_SPDIF0_TX_ADMA_LCDIF_D11	0x00000060
			IMX8QXP_SPDIF0_EXT_CLK_ADMA_LCDIF_D12	0x00000060
			IMX8QXP_SPI3_SCK_ADMA_LCDIF_D13		0x00000060
			IMX8QXP_SPI3_SDO_ADMA_LCDIF_D14		0x00000060
			IMX8QXP_SPI3_SDI_ADMA_LCDIF_D15		0x00000060
			IMX8QXP_UART1_RTS_B_ADMA_LCDIF_D16	0x00000060
			IMX8QXP_UART1_CTS_B_ADMA_LCDIF_D17	0x00000060
			IMX8QXP_SPI3_CS0_ADMA_LCDIF_HSYNC	0x00000060
			IMX8QXP_SPI3_CS1_ADMA_LCDIF_RESET	0x00000060
			IMX8QXP_MCLK_IN1_ADMA_LCDIF_EN		0x00000060
			IMX8QXP_MCLK_IN0_ADMA_LCDIF_VSYNC	0x00000060
			IMX8QXP_MCLK_OUT0_ADMA_LCDIF_CLK	0x00000060
		>;
	};

	pinctrl_lcdifpwm: lcdifpwmgrp {
		fsl,pins = <
			IMX8QXP_SPI0_CS1_ADMA_LCD_PWM0_OUT	0x00000060
		>;
	};
};
